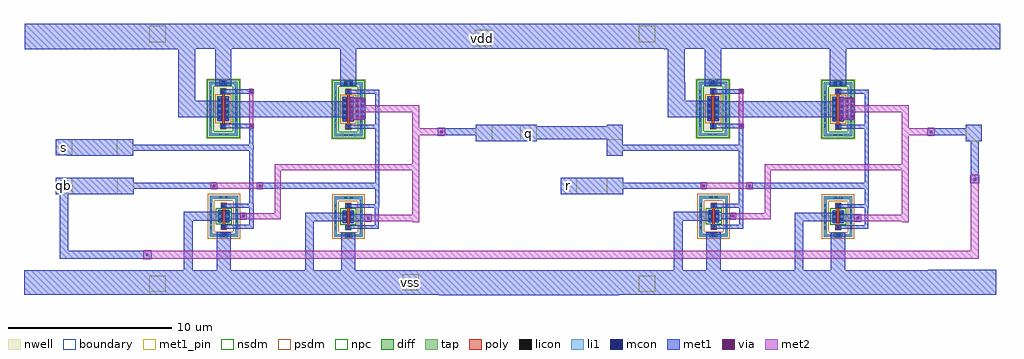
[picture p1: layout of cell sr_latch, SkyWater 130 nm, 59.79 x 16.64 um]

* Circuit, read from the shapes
.subckt sr_latch q qb r s vdd vss
XM1 q s vss vss sky130_fd_pr__nfet_01v8 w=0.75 l=0.15
XM2 q qb vss vss sky130_fd_pr__nfet_01v8 w=0.75 l=0.15
XM3 qb q vss vss sky130_fd_pr__nfet_01v8 w=0.75 l=0.15
XM4 qb r vss vss sky130_fd_pr__nfet_01v8 w=0.75 l=0.15
XM5 n1 s vdd vdd sky130_fd_pr__pfet_01v8 w=1.5 l=0.15
XM6 q qb n1 vdd sky130_fd_pr__pfet_01v8 w=1.5 l=0.15
XM7 n2 q vdd vdd sky130_fd_pr__pfet_01v8 w=1.5 l=0.15
XM8 qb r n2 vdd sky130_fd_pr__pfet_01v8 w=1.5 l=0.15
.ends

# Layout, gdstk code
import gdstk
lib = gdstk.Library(unit=1e-6, precision=1e-09)
def R(c, l, rs):  # rectangles x0, y0, x1, y1
    for r in rs: c.add(gdstk.rectangle(r[:2], r[2:], *l))
def A(c, l, x, y, w, h, nx, ny, dx, dy):  # array of equal rectangles
    R(c, l, [(x+i*dx, y+j*dy, x+i*dx+w, y+j*dy+h) for i in range(nx) for j in range(ny)])
nwell = (64, 20)
diff = (65, 20)
tap = (65, 44)
poly = (66, 20)
licon = (66, 44)
li1 = (67, 20)
mcon = (67, 44)
met1_pin = (68, 16)
met1 = (68, 20)
via = (68, 44)
met2 = (69, 20)
nsdm = (93, 44)
psdm = (94, 20)
npc = (95, 20)
boundary = (235, 4)

sky130_fd_pr__pfet_01v8_ = lib.new_cell('sky130_fd_pr__pfet_01v8_XJP3BL')
R(sky130_fd_pr__pfet_01v8_, nwell, [(-1.055,-1.845,1.055,1.845)])
R(sky130_fd_pr__pfet_01v8_, diff, [(-0.365,-0.75,0.365,0.75)])
R(sky130_fd_pr__pfet_01v8_, tap, [(-0.875,-1.665,0.875,-1.495), (-0.875,-1.495,-0.705,1.495), (0.705,-1.495,0.875,1.495), (-0.875,1.495,0.875,1.665)])
R(sky130_fd_pr__pfet_01v8_, poly, [(-0.165,-1.235,0.165,-0.905), (-0.075,-0.905,0.075,0.905), (-0.165,0.905,0.165,1.235)])
A(sky130_fd_pr__pfet_01v8_, licon, -0.875, -1.105, 0.17, 0.17, 1, 7, 0, 0.34)
A(sky130_fd_pr__pfet_01v8_, licon, 0.705, -1.105, 0.17, 0.17, 1, 7, 0, 0.34)
A(sky130_fd_pr__pfet_01v8_, licon, -0.305, -0.595, 0.17, 0.17, 1, 4, 0, 0.34)
A(sky130_fd_pr__pfet_01v8_, licon, 0.135, -0.595, 0.17, 0.17, 1, 4, 0, 0.34)
R(sky130_fd_pr__pfet_01v8_, licon, [(-0.255,-1.665,-0.085,-1.495), (0.085,-1.665,0.255,-1.495), (-0.085,-1.155,0.085,-0.985), (-0.085,0.985,0.085,1.155), (-0.255,1.495,-0.085,1.665), (0.085,1.495,0.255,1.665)])
R(sky130_fd_pr__pfet_01v8_, li1, [(-0.875,-1.665,0.875,-1.495), (-0.875,-1.495,-0.705,1.495), (0.705,-1.495,0.875,1.495), (-0.165,-1.155,0.165,-0.985), (-0.305,-0.77,-0.135,0.77), (0.135,-0.77,0.305,0.77), (-0.165,0.985,0.165,1.155), (-0.875,1.495,0.875,1.665)])
A(sky130_fd_pr__pfet_01v8_, mcon, -0.305, -0.625, 0.17, 0.17, 1, 4, 0, 0.36)
A(sky130_fd_pr__pfet_01v8_, mcon, 0.135, -0.625, 0.17, 0.17, 1, 4, 0, 0.36)
R(sky130_fd_pr__pfet_01v8_, mcon, [(-0.085,-1.155,0.085,-0.985), (-0.085,0.985,0.085,1.155)])
R(sky130_fd_pr__pfet_01v8_, met1, [(-0.145,-1.185,0.145,-0.955), (-0.335,-0.75,-0.105,0.75), (0.105,-0.75,0.335,0.75), (-0.145,0.955,0.145,1.185)])
R(sky130_fd_pr__pfet_01v8_, nsdm, [(-1,-1.79,1,-1.37), (-1,-1.37,-0.58,1.37), (0.58,-1.37,1,1.37), (-1,1.37,1,1.79)])
R(sky130_fd_pr__pfet_01v8_, psdm, [(-0.49,-0.875,0.49,0.875)])
R(sky130_fd_pr__pfet_01v8_, npc, [(-0.185,-1.255,0.185,-0.885), (-0.185,0.885,0.185,1.255)])
R(sky130_fd_pr__pfet_01v8_, boundary, [(-0.79,-1.58,0.79,1.58)])

sky130_fd_pr__nfet_01v8_ = lib.new_cell('sky130_fd_pr__nfet_01v8_CSX3TK')
R(sky130_fd_pr__nfet_01v8_, diff, [(-0.365,-0.375,0.365,0.375)])
R(sky130_fd_pr__nfet_01v8_, tap, [(-0.875,-1.245,0.875,-1.075), (-0.875,-1.075,-0.705,1.075), (0.705,-1.075,0.875,1.075), (-0.875,1.075,0.875,1.245)])
R(sky130_fd_pr__nfet_01v8_, poly, [(-0.165,-0.815,0.165,-0.485), (-0.075,-0.485,0.075,0.485), (-0.165,0.485,0.165,0.815)])
A(sky130_fd_pr__nfet_01v8_, licon, -0.875, -0.765, 0.17, 0.17, 1, 5, 0, 0.34)
A(sky130_fd_pr__nfet_01v8_, licon, 0.705, -0.765, 0.17, 0.17, 1, 5, 0, 0.34)
R(sky130_fd_pr__nfet_01v8_, licon, [(-0.255,-1.245,-0.085,-1.075), (0.085,-1.245,0.255,-1.075), (-0.085,-0.735,0.085,-0.565), (-0.305,-0.255,-0.135,-0.085), (0.135,-0.255,0.305,-0.085), (-0.305,0.085,-0.135,0.255), (0.135,0.085,0.305,0.255), (-0.085,0.565,0.085,0.735), (-0.255,1.075,-0.085,1.245), (0.085,1.075,0.255,1.245)])
R(sky130_fd_pr__nfet_01v8_, li1, [(-0.875,-1.245,0.875,-1.075), (-0.875,-1.075,-0.705,1.075), (0.705,-1.075,0.875,1.075), (-0.165,-0.735,0.165,-0.565), (-0.305,-0.395,-0.135,0.395), (0.135,-0.395,0.305,0.395), (-0.165,0.565,0.165,0.735), (-0.875,1.075,0.875,1.245)])
R(sky130_fd_pr__nfet_01v8_, mcon, [(-0.085,-0.735,0.085,-0.565), (-0.305,-0.265,-0.135,-0.095), (0.135,-0.265,0.305,-0.095), (-0.305,0.095,-0.135,0.265), (0.135,0.095,0.305,0.265), (-0.085,0.565,0.085,0.735)])
R(sky130_fd_pr__nfet_01v8_, met1, [(-0.145,-0.765,0.145,-0.535), (-0.335,-0.375,-0.105,0.375), (0.105,-0.375,0.335,0.375), (-0.145,0.535,0.145,0.765)])
R(sky130_fd_pr__nfet_01v8_, nsdm, [(-0.49,-0.5,0.49,0.5)])
R(sky130_fd_pr__nfet_01v8_, psdm, [(-1,-1.37,1,-0.95), (-1,-0.95,-0.58,0.95), (0.58,-0.95,1,0.95), (-1,0.95,1,1.37)])
R(sky130_fd_pr__nfet_01v8_, npc, [(-0.185,-0.835,0.185,-0.465), (-0.185,0.465,0.185,0.835)])
R(sky130_fd_pr__nfet_01v8_, boundary, [(-0.79,-1.16,0.79,1.16)])

nor_gate = lib.new_cell('nor_gate')
R(nor_gate, li1, [(15.94,-9.54,16.4,-9.27), (8.31,-9.51,8.77,-9.27), (15.9,-0.2,16.43,0.05), (8.25,-0.19,8.75,0.1)])
R(nor_gate, mcon, [(16.085,-9.49,16.255,-9.32), (8.455,-9.475,8.625,-9.305), (15.9,-0.16,16.07,0.01), (16.26,-0.16,16.43,0.01), (8.415,-0.13,8.585,0.04)])
R(nor_gate, met1_pin, [(3.96,-12.86,4.96,-11.86), (2,-6.86,3,-5.86), (1.98,-4.5,2.98,-3.5), (23.98,-3.62,24.98,-2.62), (3.96,2.45,4.96,3.45)])
R(nor_gate, met1, [(2.69,-13.04,21.75,-11.52), (6.085,-11.52,6.635,-8.5), (8.1,-11.52,8.97,-9.19), (13.51,-11.52,14.03,-8.54), (15.72,-11.52,16.59,-9.24), (8.37,-9,10.36,-8.74), (15.995,-8.995,18.015,-8.765), (17.785,-8.765,18.015,-7.71), (10.1,-8.74,10.36,-7.71), (17.17,-8.57,17.595,-8.54), (13.51,-8.54,16.06,-8.02), (16.265,-8.54,17.595,-8.11), (6.085,-8.5,8.43,-7.95), (8.63,-8.49,8.99,-8.4), (8.63,-8.4,9.94,-8.035), (17.17,-8.11,17.595,-8.085), (8.63,-8.035,8.99,-7.95), (8.37,-7.71,10.36,-7.45), (15.99,-7.71,18.015,-7.68), (15.99,-7.68,18.04,-7.48), (17.8,-7.48,18.04,-6.54), (10.09,-7.45,10.35,-4.21), (2,-6.86,3,-6.54), (2,-6.54,8.13,-6.18), (10.54,-6.54,18.04,-6.18), (2,-6.18,3,-5.86), (17.8,-6.18,18.04,-2.87), (1.98,-4.5,2.98,-4.21), (1.98,-4.21,10.35,-4.16), (1.98,-4.16,10.355,-3.895), (1.98,-3.895,10.35,-3.84), (1.98,-3.84,2.98,-3.5), (10.09,-3.84,10.35,-2.82), (23.98,-3.62,24.98,-3.26), (21.645,-3.29,22.07,-3.26), (21.64,-3.26,24.98,-2.825), (16.01,-2.87,18.04,-2.63), (21.645,-2.825,22.07,-2.805), (23.98,-2.825,24.98,-2.62), (8.33,-2.82,10.38,-2.56), (17.8,-2.63,18.04,-0.72), (16.23,-2.28,17.19,-1), (5.73,-2.16,8.4,-1.15), (8.61,-2.16,16.05,-1.18), (5.73,-1.15,6.79,0), (16,-0.72,18.04,-0.48), (8.33,-0.71,10.38,-0.45), (15.66,-0.24,16.66,2.03), (8,-0.22,9,2.04), (5.73,0,6.785,2.02), (5.515,2.02,6.785,2.04), (15.66,2.03,17.44,2.04), (2.91,2.04,21.97,3.56), (16.13,3.56,17.45,3.57)])
A(nor_gate, via, 16.315, -2.195, 0.15, 0.15, 3, 4, 0.32, 0.32)
R(nor_gate, via, [(17.305,-8.405,17.455,-8.255), (9.65,-8.295,9.8,-8.145), (7.845,-6.435,7.995,-6.285), (10.675,-6.435,10.825,-6.285), (21.78,-3.125,21.93,-2.975), (10.145,-2.765,10.295,-2.615), (10.145,-0.655,10.295,-0.505)])
R(nor_gate, met2, [(20.065,-8.59,20.49,-8.54), (17.14,-8.54,20.49,-8.115), (9.545,-8.43,9.91,-8.4), (9.545,-8.4,12.03,-8.035), (20.065,-8.115,20.49,-5.415), (9.545,-8.035,9.91,-8.005), (11.665,-8.035,12.03,-5.415), (7.74,-6.57,8.1,-6.54), (10.57,-6.57,10.93,-6.54), (7.74,-6.54,10.93,-6.18), (7.74,-6.18,8.1,-6.15), (10.57,-6.18,10.93,-6.15), (11.665,-5.415,20.49,-5.05), (20.065,-5.05,20.49,-3.26), (20.065,-3.26,22.1,-2.835), (10.09,-2.85,10.35,-0.42), (20.065,-2.835,20.49,-1.85), (16.26,-2.31,17.16,-1.85), (16.26,-1.85,20.49,-1.425), (16.26,-1.425,17.16,-0.97)])
nor_gate.add(gdstk.Reference(sky130_fd_pr__pfet_01v8_, (8.505,-1.635)))
nor_gate.add(gdstk.Reference(sky130_fd_pr__pfet_01v8_, (16.165,-1.665)))
nor_gate.add(gdstk.Reference(sky130_fd_pr__nfet_01v8_, (8.535,-8.225)))
nor_gate.add(gdstk.Reference(sky130_fd_pr__nfet_01v8_, (16.165,-8.245)))
nor_gate.add(gdstk.Label('vss', (4.46,-12.36), layer=68, texttype=5))
nor_gate.add(gdstk.Label('b', (2.5,-6.36), layer=68, texttype=5))
nor_gate.add(gdstk.Label('y', (24.48,-3.12), layer=68, texttype=5))
nor_gate.add(gdstk.Label('a', (2.48,-4), layer=68, texttype=5))
nor_gate.add(gdstk.Label('vdd', (4.46,2.95), layer=68, texttype=5))

sr_latch = lib.new_cell('sr_latch')
R(sr_latch, met1_pin, [(27.505,-24.725,28.505,-23.725), (6.26,-18.825,7.26,-17.825), (37.18,-18.825,38.18,-17.825), (6.26,-16.45,7.26,-15.45), (34.72,-15.59,35.72,-14.59), (31.93,-9.765,32.93,-8.765)])
R(sr_latch, met1, [(29.715,-25.025,40.78,-23.495), (59.715,-25.005,63.89,-23.445), (4.31,-24.995,11.365,-23.48), (27.505,-24.725,28.505,-23.725), (6.515,-22.785,12.14,-22.29), (6.515,-22.29,7.01,-18.825), (6.26,-18.825,7.26,-18.82), (37.18,-18.825,38.18,-18.82), (6.26,-18.82,11.02,-17.825), (37.18,-18.82,41.02,-17.825), (62.29,-18.17,62.845,-17.675), (6.875,-17.825,11.02,-17.82), (37.675,-17.825,41.02,-17.82), (62.32,-17.675,62.815,-15.575), (6.955,-16.46,11,-16.45), (40,-16.46,41,-15.475), (6.26,-16.45,11,-15.46), (34.72,-15.59,35.72,-15.58), (32,-15.58,35.72,-15.53), (32,-15.53,35.73,-15.475), (32,-15.475,41,-14.67), (6.26,-15.46,7.26,-15.45), (32,-14.67,35.72,-14.59), (40,-14.67,41,-14.575), (32,-14.59,34.805,-14.58), (59.93,-9.955,64.105,-8.395), (4.37,-9.945,13.8,-9.82), (29.87,-9.93,41.8,-8.39), (4.37,-9.82,10.95,-8.385)])
R(sr_latch, via, [(11.785,-22.615,11.935,-22.465), (62.49,-18,62.64,-17.85)])
R(sr_latch, met2, [(11.615,-22.815,12.11,-22.785), (11.615,-22.785,62.815,-22.29), (11.615,-22.29,12.11,-22.26), (62.32,-22.29,62.815,-17.645)])
sr_latch.add(gdstk.Reference(nor_gate, (8.02,-11.96)))
sr_latch.add(gdstk.Reference(nor_gate, (38.02,-11.96)))
sr_latch.add(gdstk.Label('vss', (28.005,-24.225), layer=68, texttype=5))
sr_latch.add(gdstk.Label('q', (35.22,-15.09), layer=68, texttype=5))
sr_latch.add(gdstk.Label('qb', (6.76,-18.325), layer=68, texttype=5))
sr_latch.add(gdstk.Label('s', (6.76,-15.95), layer=68, texttype=5))
sr_latch.add(gdstk.Label('r', (37.68,-18.325), layer=68, texttype=5))
sr_latch.add(gdstk.Label('vdd', (32.43,-9.265), layer=68, texttype=5))

lib.write_gds('sr_latch.gds')
